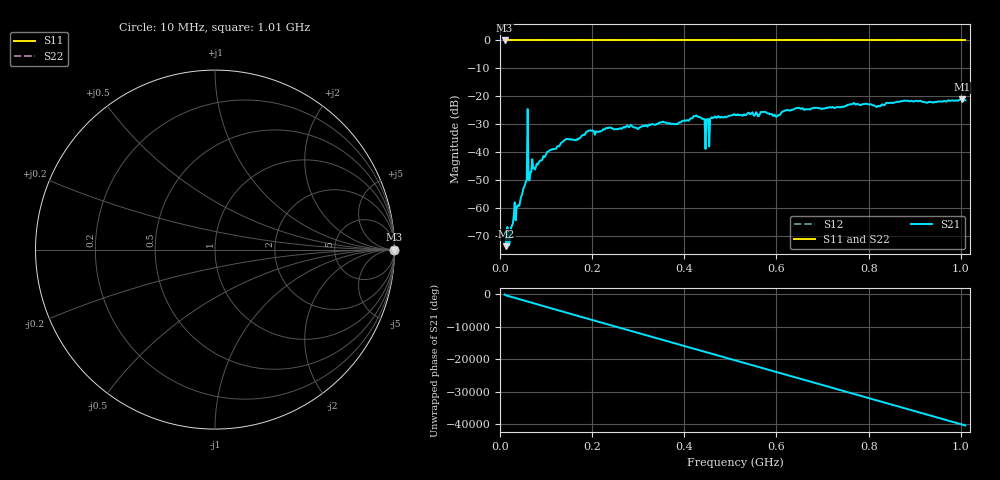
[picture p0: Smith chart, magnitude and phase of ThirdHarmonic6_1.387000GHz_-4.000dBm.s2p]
! 8/16/2025 3:47:10 PM
! C:\ANRITSUVNA\TEMP\TEMP.S2P
! CHANNEL.1
! TR.MEASUREMENT
! RAW.DATA
! RF.CORRECTION.OFF
! AVERAGING.OFF
! IF.BANDWIDTH: 5KHZ
! SWEEPTYPE:  FREQ.SWEEP(Linear)
! Reference Plane Port Info
! PORT:  PORT1  PORT2
! DISTANCE:  0  m  0  m
! TIME:  0  s  0  s
! PHASE.OFFSET:  0  deg.  0  deg.
! LOSS:  0  dB  0  dB
! REF.LOSS:  0  dB  0  dB
! REF.FREQ:  0  Hz  0  Hz
! Power Info
! POWER:  -20  dBm  -20  dBm
! EFF.POWER:  -20  dBm  -20  dBm
! SOURCE.ATTEN:  0  dB  0  dB
! TEST.ATTEN:  0  dB  0  dB
# GHZ S RI R 50.0
! FREQ.GHZ  S11RE  S11IM  S21RE  S21IM  S12RE  S12IM  S22RE  S22IM
!; PortSelection: Port_12
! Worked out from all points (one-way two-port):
!   501 points, 10 MHz to 1.01 GHz, reference 50 ohm
!   highest |S21| = -21.00 dB at 1.002 GHz (marker M1); lowest = -73.5 dB at 14 MHz (marker M2)
!   lowest |S11| = 0.0 dB at 10 MHz (marker M3)
!   |S11| at or under -10 dB: nowhere
!   |S22| runs from 0.0 to 0.0 dB; largest |S21 - S12| = 1.1
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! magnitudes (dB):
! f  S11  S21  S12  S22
! 10 MHz  0.0  -68.8  0.0  0.0
! 14 MHz  0.0  -73.5  0.0  0.0
! 18 MHz  0.0  -69.1  0.0  0.0
! 24 MHz  0.0  -66.8  0.0  0.0
! 28 MHz  0.0  -65.4  0.0  0.0
! 54 MHz  0.0  -51.7  0.0  0.0
! 56 MHz  0.0  -50.5  0.0  0.0
! 64 MHz  0.0  -50.0  0.0  0.0
! 66 MHz  0.0  -47.0  0.0  0.0
! 106 MHz  0.0  -39.6  0.0  0.0
! 178 MHz  0.0  -33.9  0.0  0.0
! 344 MHz  0.0  -29.8  0.0  0.0
! 424 MHz  0.0  -27.0  0.0  0.0
! 440 MHz  0.0  -27.9  0.0  0.0
! 450 MHz  0.0  -28.1  0.0  0.0
! 460 MHz  0.0  -27.4  0.0  0.0
! 510 MHz  0.0  -26.6  0.0  0.0
! 602 MHz  0.0  -27.1  0.0  0.0
! 678 MHz  0.0  -24.3  0.0  0.0
! 844 MHz  0.0  -22.3  0.0  0.0
! 1.002 GHz  0.0  -21.0  0.0  0.0
! 1.01 GHz  0.0  -21.4  0.0  0.0
